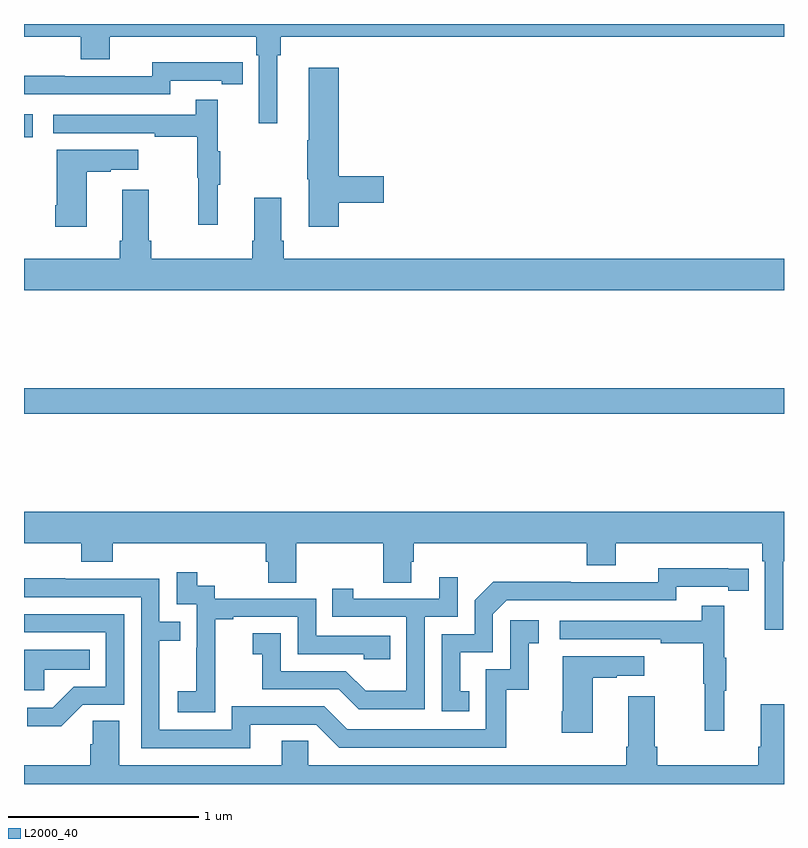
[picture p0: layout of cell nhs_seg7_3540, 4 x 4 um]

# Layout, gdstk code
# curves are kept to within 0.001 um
import gdstk
lib = gdstk.Library(unit=1e-6, precision=1e-09)
def R(c, l, rs):  # rectangles x0, y0, x1, y1
    for r in rs: c.add(gdstk.rectangle(r[:2], r[2:], *l))
def P(c, l, *ps):  # polygons
    for p in ps: c.add(gdstk.Polygon(p, *l))
L2000_40 = (2000, 40)

nhs_seg7_3540 = lib.new_cell('nhs_seg7_3540')
R(nhs_seg7_3540, L2000_40, [(337,1015.948,341,1016.084), (337,1017.405,337.045,1017.526)])
P(nhs_seg7_3540, L2000_40, [(338.332,1017.836),(338.351,1017.836),(338.351,1017.932),(341,1017.932),(341,1018),(337,1018),(337,1017.932),(337.298,1017.932),(337.298,1017.815),(337.45,1017.815),(337.45,1017.932),(338.222,1017.932),(338.222,1017.836),(338.235,1017.836),(338.235,1017.477),(338.332,1017.477)],
  [(337.77,1017.702),(338.042,1017.702),(338.042,1017.682),(338.15,1017.682),(338.15,1017.798),(338.042,1017.798),(338.042,1017.799),(337.674,1017.799),(337.674,1017.726),(337.214,1017.726),(337.214,1017.728),(337,1017.728),(337,1017.63),(337.77,1017.63)],
  [(338.657,1017.058),(338.893,1017.058),(338.893,1017.2),(338.657,1017.2),(338.657,1017.769),(338.498,1017.769),(338.498,1017.389),(338.491,1017.389),(338.491,1017.183),(338.498,1017.183),(338.498,1016.934),(338.657,1016.934)],
  [(338.021,1017.155),(338.032,1017.155),(338.032,1017.329),(338.021,1017.329),(338.021,1017.601),(337.903,1017.601),(337.903,1017.522),(337.155,1017.522),(337.155,1017.426),(337.687,1017.426),(337.687,1017.406),(337.911,1017.406),(337.911,1017.192),(337.918,1017.192),(337.918,1016.943),(338.021,1016.943)],
  [(337.33,1017.223),(337.457,1017.223),(337.457,1017.233),(337.6,1017.233),(337.6,1017.337),(337.172,1017.337),(337.172,1017.046),(337.165,1017.046),(337.165,1016.934),(337.33,1016.934)],
  [(341,1016.764),(338.366,1016.764),(338.366,1016.86),(338.353,1016.86),(338.353,1017.085),(338.213,1017.085),(338.213,1016.86),(338.201,1016.86),(338.201,1016.764),(337.67,1016.764),(337.67,1016.86),(337.657,1016.86),(337.657,1017.127),(337.517,1017.127),(337.517,1016.86),(337.505,1016.86),(337.505,1016.764),(337,1016.764),(337,1016.6),(341,1016.6)],
  [(340.996,1015.172),(341,1015.172),(341,1015.432),(337,1015.432),(337,1015.268),(337.301,1015.268),(337.301,1015.169),(337.466,1015.169),(337.466,1015.268),(338.273,1015.268),(338.273,1015.17),(338.285,1015.17),(338.285,1015.06),(338.433,1015.06),(338.433,1015.268),(338.89,1015.268),(338.89,1015.06),(339.037,1015.06),(339.037,1015.17),(339.05,1015.17),(339.05,1015.268),(339.962,1015.268),(339.962,1015.151),(340.114,1015.151),(340.114,1015.268),(340.886,1015.268),(340.886,1015.172),(340.899,1015.172),(340.899,1014.813),(340.996,1014.813)],
  [(339.344,1014.489),(339.295,1014.489),(339.295,1014.693),(339.468,1014.693),(339.468,1014.894),(339.54,1014.966),(340.434,1014.966),(340.434,1015.038),(340.706,1015.038),(340.706,1015.018),(340.814,1015.018),(340.814,1015.134),(340.338,1015.135),(340.338,1015.062),(339.878,1015.062),(339.878,1015.064),(339.47,1015.064),(339.372,1014.966),(339.372,1014.789),(339.198,1014.789),(339.198,1014.384),(339.344,1014.384)],
  [(338.007,1014.583),(338.006,1014.583),(338.006,1014.867),(338.101,1014.867),(338.101,1014.879),(338.442,1014.879),(338.442,1014.684),(338.787,1014.684),(338.787,1014.657),(338.927,1014.657),(338.927,1014.78),(338.538,1014.78),(338.538,1014.975),(338.004,1014.975),(338.004,1015.044),(337.912,1015.044),(337.912,1015.114),(337.803,1015.114),(337.803,1014.945),(337.908,1014.945),(337.908,1014.716),(337.907,1014.716),(337.907,1014.487),(337.809,1014.487),(337.809,1014.377),(338.007,1014.377)],
  [(339.108,1014.879),(339.282,1014.879),(339.282,1015.087),(339.185,1015.087),(339.185,1014.975),(338.734,1014.975),(338.734,1015.027),(338.623,1015.027),(338.623,1014.879),(339.012,1014.879),(339.012,1014.49),(338.798,1014.49),(338.694,1014.594),(338.352,1014.594),(338.352,1014.793),(338.205,1014.793),(338.205,1014.683),(338.254,1014.683),(338.254,1014.498),(338.657,1014.498),(338.762,1014.393),(339.108,1014.393)],
  [(338.191,1014.312),(338.538,1014.312),(338.658,1014.192),(339.538,1014.192),(339.538,1014.495),(339.656,1014.495),(339.656,1014.741),(339.709,1014.741),(339.709,1014.862),(339.558,1014.862),(339.558,1014.603),(339.429,1014.603),(339.429,1014.288),(338.7,1014.288),(338.58,1014.408),(338.094,1014.408),(338.094,1014.285),(337.713,1014.285),(337.713,1014.754),(337.823,1014.754),(337.823,1014.855),(337.713,1014.855),(337.713,1015.08),(337.217,1015.08),(337.217,1015.082),(337,1015.082),(337,1014.984),(337.617,1014.984),(337.617,1014.189),(338.191,1014.189)],
  [(340.685,1014.491),(340.696,1014.491),(340.696,1014.665),(340.685,1014.665),(340.685,1014.937),(340.567,1014.937),(340.567,1014.858),(339.819,1014.858),(339.819,1014.762),(340.351,1014.762),(340.351,1014.742),(340.575,1014.742),(340.575,1014.528),(340.582,1014.528),(340.582,1014.279),(340.685,1014.279)],
  [(337.308,1014.417),(337.527,1014.417),(337.527,1014.894),(337,1014.894),(337,1014.798),(337.431,1014.798),(337.431,1014.513),(337.262,1014.513),(337.151,1014.402),(337.017,1014.402),(337.017,1014.305),(337.195,1014.305)],
  [(337.107,1014.602),(337.346,1014.602),(337.346,1014.706),(337,1014.706),(337,1014.494),(337.107,1014.494)],
  [(339.994,1014.559),(340.121,1014.559),(340.121,1014.569),(340.264,1014.569),(340.264,1014.673),(339.836,1014.673),(339.836,1014.382),(339.829,1014.382),(339.829,1014.27),(339.994,1014.27)],
  [(341,1014.421),(340.877,1014.421),(340.877,1014.196),(340.865,1014.196),(340.865,1014.1),(340.334,1014.1),(340.334,1014.196),(340.321,1014.196),(340.321,1014.463),(340.181,1014.463),(340.181,1014.196),(340.169,1014.196),(340.169,1014.1),(338.496,1014.1),(338.496,1014.227),(338.357,1014.227),(338.357,1014.1),(337.501,1014.1),(337.501,1014.332),(337.362,1014.332),(337.362,1014.209),(337.349,1014.209),(337.349,1014.1),(337,1014.1),(337,1014),(341,1014)])

lib.write_gds('nhs_seg7_3540.gds')
